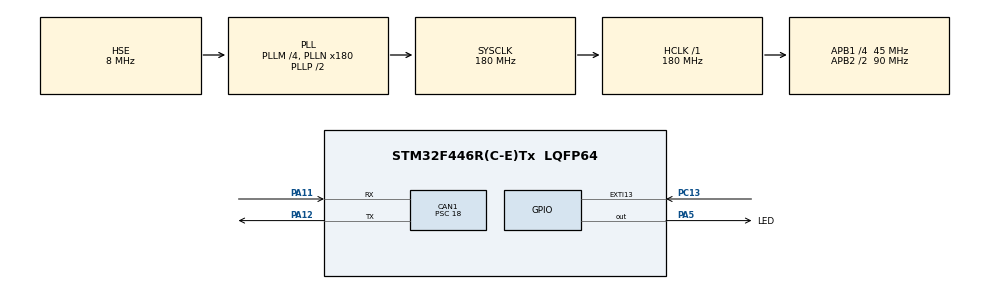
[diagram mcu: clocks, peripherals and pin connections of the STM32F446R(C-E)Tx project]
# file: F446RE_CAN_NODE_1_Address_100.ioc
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CAN1.BS1=CAN_BS1_2TQ
CAN1.BS2=CAN_BS2_2TQ
CAN1.CalculateBaudRate=500000
CAN1.CalculateTimeBit=2000
CAN1.CalculateTimeQuantum=400.0
CAN1.Prescaler=18
Mcu.Family=STM32F4
Mcu.Name=STM32F446R(C-E)Tx
Mcu.Package=LQFP64
NVIC.CAN1_RX0_IRQn=true\:0\:0\:false\:false\:true\:true\:true\:true
NVIC.EXTI15_10_IRQn=true\:0\:0\:false\:false\:true\:true\:true\:true
NVIC.PriorityGroup=NVIC_PRIORITYGROUP_0
PA11.Mode=CAN_Activate
PA11.Signal=CAN1_RX
PA12.Mode=CAN_Activate
PA12.Signal=CAN1_TX
PA5.GPIO_Label=LED
PA5.Signal=GPIO_Output
PC13.Signal=GPXTI13
PH0-OSC_IN.Mode=HSE-External-Oscillator
PH0-OSC_IN.Signal=RCC_OSC_IN
PH1-OSC_OUT.Mode=HSE-External-Oscillator
PH1-OSC_OUT.Signal=RCC_OSC_OUT
ProjectManager.HeapSize=0x200
ProjectManager.StackSize=0x400
ProjectManager.TargetToolchain=STM32CubeIDE
RCC.48MHZClocksFreq_Value=84000000
RCC.AHBFreq_Value=180000000
RCC.APB1CLKDivider=RCC_HCLK_DIV4
RCC.APB1Freq_Value=45000000
RCC.APB1TimFreq_Value=90000000
RCC.APB2CLKDivider=RCC_HCLK_DIV2
RCC.APB2Freq_Value=90000000
RCC.APB2TimFreq_Value=180000000
RCC.CortexFreq_Value=180000000
RCC.FLatency-AdvancedSettings=FLASH_LATENCY_5
RCC.HCLKFreq_Value=180000000
RCC.HSE_VALUE=8000000
RCC.HSI_VALUE=16000000
RCC.PLLM=4
RCC.PLLN=180
RCC.PLLSourceVirtual=RCC_PLLSOURCE_HSE
RCC.SYSCLKFreq_VALUE=180000000
RCC.SYSCLKSource=RCC_SYSCLKSOURCE_PLLCLK
RCC.USBFreq_Value=180000000
RCC.VCOOutputFreq_Value=360000000
board=NUCLEO-F446RE

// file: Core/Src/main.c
/* USER CODE BEGIN Header */
/**
  ******************************************************************************
  * @file           : main.c
  * @brief          : Main program body
  ******************************************************************************
  * @attention
  *
  * Copyright (c) 2024 STMicroelectronics.
  * All rights reserved.
  *
  * This software is licensed under terms that can be found in the LICENSE file
  * in the root directory of this software component.
  * If no LICENSE file comes with this software, it is provided AS-IS.
  *
  ******************************************************************************
  */
/* USER CODE END Header */
#include "main.h"

CAN_HandleTypeDef hcan1;

/* USER CODE BEGIN PV */

CAN_TxHeaderTypeDef TxHeader;
CAN_RxHeaderTypeDef RxHeader;

uint8_t TxData[8];
uint8_t RxData[8];

uint32_t TxMailbox;

uint8_t datareceived = 0;

/* USER CODE END PV */

void SystemClock_Config(void);
static void MX_GPIO_Init(void);
static void MX_CAN1_Init(void);

/* USER CODE BEGIN 0 */
void HAL_GPIO_EXTI_Callback(uint16_t GPIO_Pin)
{

	if(GPIO_Pin == GPIO_PIN_13)
	{
		TxData[0] = 10;
		TxData[1] = 100;

		HAL_CAN_AddTxMessage(&hcan1, &TxHeader, TxData, &TxMailbox);
	}
}

void HAL_CAN_RxFifo0MsgPendingCallback(CAN_HandleTypeDef *hcan)
{
	HAL_CAN_GetRxMessage(hcan, CAN_RX_FIFO0, &RxHeader, RxData);

	if(RxHeader.DLC == 2)
	{
		datareceived = 1;
	}
}
/* USER CODE END 0 */

int main(void)
{

  /* MCU Configuration--------------------------------------------------------*/

  /* Reset of all peripherals, Initializes the Flash interface and the Systick. */
  HAL_Init();

  /* Configure the system clock */
  SystemClock_Config();

  /* Initialize all configured peripherals */
  MX_GPIO_Init();
  MX_CAN1_Init();
  /* USER CODE BEGIN 2 */
  HAL_CAN_Start(&hcan1);

  HAL_CAN_ActivateNotification(&hcan1, CAN_IT_RX_FIFO0_MSG_PENDING);

  TxHeader.DLC = 2;
  TxHeader.StdId = 0x100;
  TxHeader.IDE = CAN_ID_STD;
  TxHeader.RTR = CAN_RTR_DATA;

  /* USER CODE END 2 */

  /* Infinite loop */
  /* USER CODE BEGIN WHILE */
  while (1)
  {
	  if(datareceived)
	  {
		  for(uint8_t i=0;i<RxData[0];i++)
		  {
			  HAL_GPIO_TogglePin(LED_GPIO_Port, LED_Pin);
			  HAL_Delay(RxData[1]);
		  }
		  datareceived = 0;
	  }
    /* USER CODE END WHILE */

  }
}

void SystemClock_Config(void)
{
  RCC_OscInitTypeDef RCC_OscInitStruct = {0};
  RCC_ClkInitTypeDef RCC_ClkInitStruct = {0};

  /** Configure the main internal regulator output voltage
  */
  __HAL_RCC_PWR_CLK_ENABLE();
  __HAL_PWR_VOLTAGESCALING_CONFIG(PWR_REGULATOR_VOLTAGE_SCALE1);

  /** Initializes the RCC Oscillators according to the specified parameters
  * in the RCC_OscInitTypeDef structure.
  */
  RCC_OscInitStruct.OscillatorType = RCC_OSCILLATORTYPE_HSE;
  RCC_OscInitStruct.HSEState = RCC_HSE_ON;
  RCC_OscInitStruct.PLL.PLLState = RCC_PLL_ON;
  RCC_OscInitStruct.PLL.PLLSource = RCC_PLLSOURCE_HSE;
  RCC_OscInitStruct.PLL.PLLM = 4;
  RCC_OscInitStruct.PLL.PLLN = 180;
  RCC_OscInitStruct.PLL.PLLP = RCC_PLLP_DIV2;
  RCC_OscInitStruct.PLL.PLLQ = 2;
  RCC_OscInitStruct.PLL.PLLR = 2;
  if (HAL_RCC_OscConfig(&RCC_OscInitStruct) != HAL_OK)
  {
    Error_Handler();
  }

  /** Activate the Over-Drive mode
  */
  if (HAL_PWREx_EnableOverDrive() != HAL_OK)
  {
    Error_Handler();
  }

  /** Initializes the CPU, AHB and APB buses clocks
  */
  RCC_ClkInitStruct.ClockType = RCC_CLOCKTYPE_HCLK|RCC_CLOCKTYPE_SYSCLK
                              |RCC_CLOCKTYPE_PCLK1|RCC_CLOCKTYPE_PCLK2;
  RCC_ClkInitStruct.SYSCLKSource = RCC_SYSCLKSOURCE_PLLCLK;
  RCC_ClkInitStruct.AHBCLKDivider = RCC_SYSCLK_DIV1;
  RCC_ClkInitStruct.APB1CLKDivider = RCC_HCLK_DIV4;
  RCC_ClkInitStruct.APB2CLKDivider = RCC_HCLK_DIV2;

  if (HAL_RCC_ClockConfig(&RCC_ClkInitStruct, FLASH_LATENCY_5) != HAL_OK)
  {
    Error_Handler();
  }
}

static void MX_CAN1_Init(void)
{

  hcan1.Instance = CAN1;
  hcan1.Init.Prescaler = 18;
  hcan1.Init.Mode = CAN_MODE_NORMAL;
  hcan1.Init.SyncJumpWidth = CAN_SJW_1TQ;
  hcan1.Init.TimeSeg1 = CAN_BS1_2TQ;
  hcan1.Init.TimeSeg2 = CAN_BS2_2TQ;
  hcan1.Init.TimeTriggeredMode = DISABLE;
  hcan1.Init.AutoBusOff = DISABLE;
  hcan1.Init.AutoWakeUp = DISABLE;
  hcan1.Init.AutoRetransmission = DISABLE;
  hcan1.Init.ReceiveFifoLocked = DISABLE;
  hcan1.Init.TransmitFifoPriority = DISABLE;
  if (HAL_CAN_Init(&hcan1) != HAL_OK)
  {
    Error_Handler();
  }
  /* USER CODE BEGIN CAN1_Init 2 */
  CAN_FilterTypeDef sfilterConfig = {0};

  sfilterConfig.FilterActivation = CAN_FILTER_ENABLE;
  sfilterConfig.FilterBank = 18;
  sfilterConfig.FilterFIFOAssignment = CAN_RX_FIFO0;
  sfilterConfig.FilterIdHigh = 0x101 << 5;
  sfilterConfig.FilterIdLow = 0x000;
  sfilterConfig.FilterMaskIdHigh = 0x101 << 5;
  sfilterConfig.FilterMaskIdLow = 0x000;
  sfilterConfig.FilterMode = CAN_FILTERMODE_IDMASK;
  sfilterConfig.FilterScale = CAN_FILTERSCALE_32BIT;
  sfilterConfig.SlaveStartFilterBank = 20;

  if(HAL_CAN_ConfigFilter(&hcan1, &sfilterConfig) != HAL_OK)
  {
	  Error_Handler();
  }
  /* USER CODE END CAN1_Init 2 */

}

static void MX_GPIO_Init(void)
{
  GPIO_InitTypeDef GPIO_InitStruct = {0};

  /* GPIO Ports Clock Enable */
  __HAL_RCC_GPIOC_CLK_ENABLE();
  __HAL_RCC_GPIOH_CLK_ENABLE();
  __HAL_RCC_GPIOA_CLK_ENABLE();

  /*Configure GPIO pin Output Level */
  HAL_GPIO_WritePin(LED_GPIO_Port, LED_Pin, GPIO_PIN_RESET);

  /*Configure GPIO pin : PC13 */
  GPIO_InitStruct.Pin = GPIO_PIN_13;
  GPIO_InitStruct.Mode = GPIO_MODE_IT_RISING;
  GPIO_InitStruct.Pull = GPIO_NOPULL;
  HAL_GPIO_Init(GPIOC, &GPIO_InitStruct);

  /*Configure GPIO pin : LED_Pin */
  GPIO_InitStruct.Pin = LED_Pin;
  GPIO_InitStruct.Mode = GPIO_MODE_OUTPUT_PP;
  GPIO_InitStruct.Pull = GPIO_NOPULL;
  GPIO_InitStruct.Speed = GPIO_SPEED_FREQ_LOW;
  HAL_GPIO_Init(LED_GPIO_Port, &GPIO_InitStruct);

  /* EXTI interrupt init*/
  HAL_NVIC_SetPriority(EXTI15_10_IRQn, 0, 0);
  HAL_NVIC_EnableIRQ(EXTI15_10_IRQn);

}

void Error_Handler(void)
{
  __disable_irq();
  while (1)
  {
  }
}
